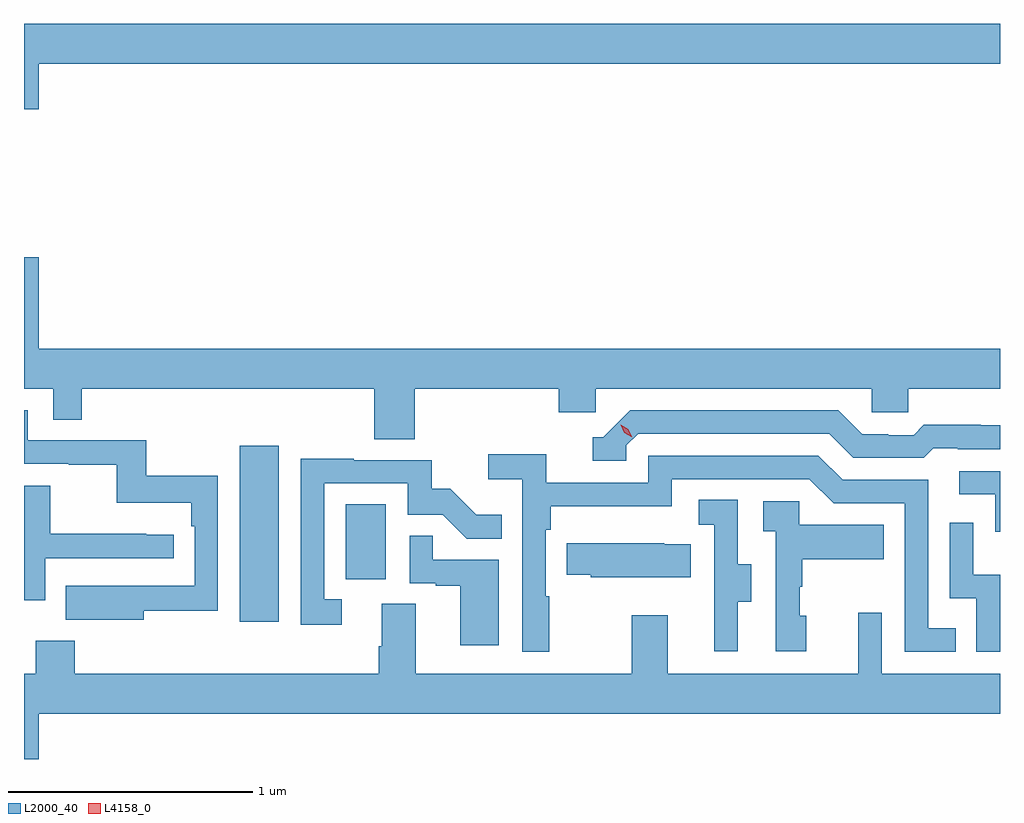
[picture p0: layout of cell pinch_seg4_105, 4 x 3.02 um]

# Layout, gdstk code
import gdstk
lib = gdstk.Library(unit=1e-6, precision=1e-09)
def R(c, l, rs):  # rectangles x0, y0, x1, y1
    for r in rs: c.add(gdstk.rectangle(r[:2], r[2:], *l))
def P(c, l, *ps):  # polygons
    for p in ps: c.add(gdstk.Polygon(p, *l))
L2000_40 = (2000, 40)
L4158_0 = (4158, 0)

pinch_seg4_105 = lib.new_cell('pinch_seg4_105')
R(pinch_seg4_105, L2000_40, [(1077.083,803.856,1077.244,804.577), (1077.518,804.03,1077.682,804.337)])
P(pinch_seg4_105, L2000_40, [(1076.26,806.144),(1080.199,806.144),(1080.199,806.308),(1076.199,806.308),(1076.199,805.956),(1076.26,805.956)],
  [(1077.8,804.812),(1078.391,804.812),(1078.391,804.714),(1078.542,804.714),(1078.542,804.812),(1079.673,804.812),(1079.673,804.714),(1079.823,804.714),(1079.823,804.812),(1080.199,804.812),(1080.199,804.976),(1076.26,804.976),(1076.26,805.351),(1076.199,805.351),(1076.199,804.812),(1076.319,804.812),(1076.319,804.685),(1076.435,804.685),(1076.435,804.812),(1077.635,804.812),(1077.635,804.604),(1077.8,804.604)],
  [(1076.689,803.902),(1076.994,803.902),(1076.994,804.454),(1076.701,804.454),(1076.701,804.6),(1076.214,804.6),(1076.214,804.723),(1076.199,804.723),(1076.199,804.504),(1076.383,804.504),(1076.383,804.499),(1076.58,804.499),(1076.58,804.344),(1076.885,804.344),(1076.885,804.248),(1076.898,804.248),(1076.898,804.003),(1076.585,804.003),(1076.585,804.004),(1076.371,804.004),(1076.371,803.864),(1076.689,803.864)],
  [(1078.668,804.579),(1078.716,804.627),(1079.499,804.627),(1079.598,804.528),(1079.887,804.528),(1079.926,804.567),(1080.025,804.567),(1080.025,804.564),(1080.199,804.564),(1080.199,804.661),(1080.12,804.661),(1080.12,804.664),(1079.887,804.664),(1079.845,804.621),(1079.742,804.621),(1079.742,804.624),(1079.635,804.624),(1079.536,804.723),(1078.683,804.723),(1078.572,804.612),(1078.529,804.612),(1078.529,804.516),(1078.668,804.516)],
  [(1078.351,803.96),(1078.338,803.96),(1078.338,804.233),(1078.358,804.233),(1078.358,804.329),(1078.854,804.329),(1078.854,804.441),(1079.418,804.441),(1079.517,804.342),(1079.808,804.342),(1079.808,803.733),(1080.017,803.733),(1080.017,803.829),(1079.904,803.829),(1079.904,804.438),(1079.554,804.438),(1079.455,804.537),(1078.758,804.537),(1078.758,804.426),(1078.34,804.426),(1078.34,804.542),(1078.101,804.542),(1078.101,804.44),(1078.242,804.44),(1078.242,803.733),(1078.351,803.733)],
  [(1077.502,803.949),(1077.429,803.949),(1077.429,804.423),(1077.771,804.423),(1077.771,804.294),(1077.915,804.294),(1078.013,804.196),(1078.157,804.196),(1078.157,804.295),(1078.053,804.295),(1077.946,804.402),(1077.87,804.402),(1077.87,804.519),(1077.551,804.519),(1077.551,804.524),(1077.333,804.524),(1077.333,803.844),(1077.502,803.844)],
  [(1080.199,804.474),(1080.033,804.474),(1080.033,804.378),(1080.18,804.378),(1080.18,804.225),(1080.199,804.225)],
  [(1076.286,804.117),(1076.812,804.117),(1076.812,804.213),(1076.699,804.213),(1076.699,804.218),(1076.306,804.218),(1076.306,804.414),(1076.199,804.414),(1076.199,803.945),(1076.286,803.945)],
  [(1079.125,803.938),(1079.179,803.938),(1079.179,804.093),(1079.124,804.093),(1079.124,804.356),(1078.965,804.356),(1078.965,804.253),(1079.028,804.253),(1079.028,803.949),(1079.027,803.949),(1079.027,803.736),(1079.125,803.736)],
  [(1079.404,803.88),(1079.379,803.88),(1079.379,803.999),(1079.389,803.999),(1079.389,804.113),(1079.723,804.113),(1079.723,804.253),(1079.376,804.253),(1079.376,804.351),(1079.229,804.351),(1079.229,804.227),(1079.28,804.227),(1079.28,803.736),(1079.404,803.736)],
  [(1080.199,804.05),(1080.09,804.05),(1080.09,804.262),(1079.994,804.262),(1079.994,803.952),(1080.102,803.952),(1080.102,803.733),(1080.199,803.733)],
  [(1078.144,804.111),(1077.875,804.111),(1077.875,804.209),(1077.78,804.209),(1077.78,804.015),(1077.887,804.015),(1077.887,804.003),(1077.986,804.003),(1077.986,803.76),(1078.144,803.76)],
  [(1078.931,804.175),(1078.823,804.175),(1078.823,804.178),(1078.423,804.178),(1078.423,804.049),(1078.521,804.049),(1078.521,804.038),(1078.931,804.038)],
  [(1076.26,803.48),(1080.199,803.48),(1080.199,803.644),(1079.715,803.644),(1079.715,803.893),(1079.618,803.893),(1079.618,803.644),(1078.837,803.644),(1078.837,803.884),(1078.69,803.884),(1078.69,803.644),(1077.805,803.644),(1077.805,803.93),(1077.665,803.93),(1077.665,803.756),(1077.653,803.756),(1077.653,803.644),(1076.408,803.644),(1076.408,803.779),(1076.248,803.779),(1076.248,803.644),(1076.199,803.644),(1076.199,803.292),(1076.26,803.292)])
P(pinch_seg4_105, L4158_0, [(1078.691,804.612),(1078.66,804.631),(1078.644,804.664),(1078.644,804.664),(1078.644,804.664),(1078.675,804.645),(1078.691,804.612),(1078.691,804.612)])

lib.write_gds('pinch_seg4_105.gds')
